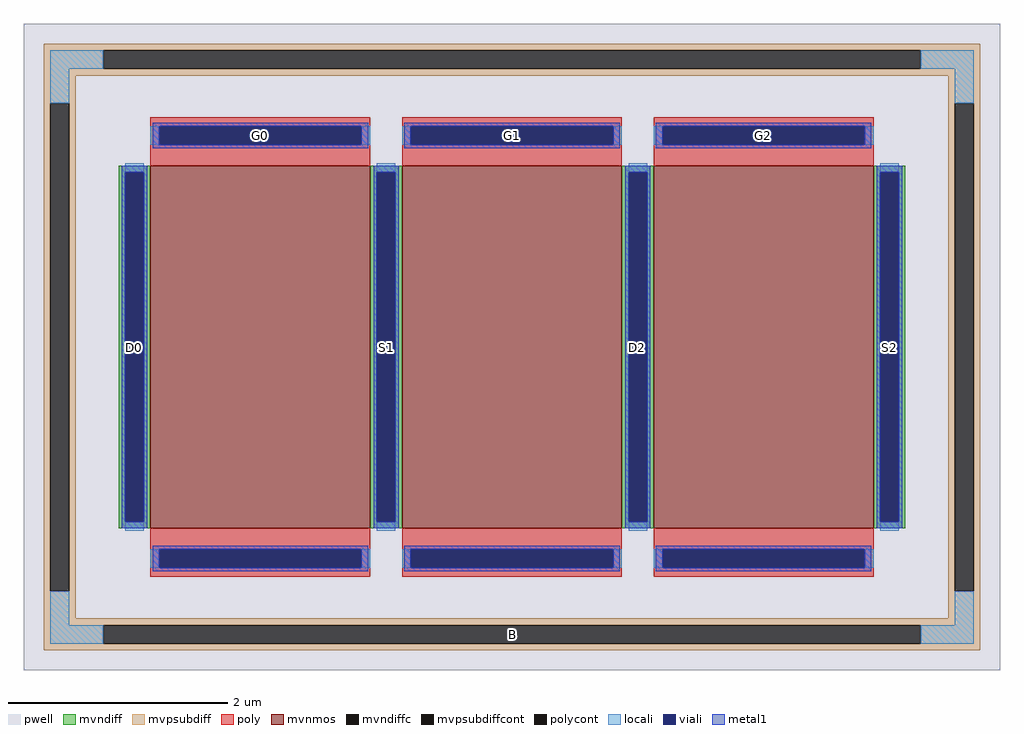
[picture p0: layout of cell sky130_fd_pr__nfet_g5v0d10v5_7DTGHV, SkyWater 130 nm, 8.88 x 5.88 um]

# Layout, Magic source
magic
tech sky130A
magscale 1 2
<< pwell >>
rect -888 -588 888 588
<< mvnmos >>
rect -658 -330 -258 330
rect -200 -330 200 330
rect 258 -330 658 330
<< mvndiff >>
rect -716 318 -658 330
rect -716 -318 -704 318
rect -670 -318 -658 318
rect -716 -330 -658 -318
rect -258 318 -200 330
rect -258 -318 -246 318
rect -212 -318 -200 318
rect -258 -330 -200 -318
rect 200 318 258 330
rect 200 -318 212 318
rect 246 -318 258 318
rect 200 -330 258 -318
rect 658 318 716 330
rect 658 -318 670 318
rect 704 -318 716 318
rect 658 -330 716 -318
<< mvndiffc >>
rect -704 -318 -670 318
rect -246 -318 -212 318
rect 212 -318 246 318
rect 670 -318 704 318
<< mvpsubdiff >>
rect -852 540 852 552
rect -852 506 -744 540
rect 744 506 852 540
rect -852 494 852 506
rect -852 444 -794 494
rect -852 -444 -840 444
rect -806 -444 -794 444
rect 794 444 852 494
rect -852 -494 -794 -444
rect 794 -444 806 444
rect 840 -444 852 444
rect 794 -494 852 -444
rect -852 -506 852 -494
rect -852 -540 -744 -506
rect 744 -540 852 -506
rect -852 -552 852 -540
<< mvpsubdiffcont >>
rect -744 506 744 540
rect -840 -444 -806 444
rect 806 -444 840 444
rect -744 -540 744 -506
<< poly >>
rect -658 402 -258 418
rect -658 368 -642 402
rect -274 368 -258 402
rect -658 330 -258 368
rect -200 402 200 418
rect -200 368 -184 402
rect 184 368 200 402
rect -200 330 200 368
rect 258 402 658 418
rect 258 368 274 402
rect 642 368 658 402
rect 258 330 658 368
rect -658 -368 -258 -330
rect -658 -402 -642 -368
rect -274 -402 -258 -368
rect -658 -418 -258 -402
rect -200 -368 200 -330
rect -200 -402 -184 -368
rect 184 -402 200 -368
rect -200 -418 200 -402
rect 258 -368 658 -330
rect 258 -402 274 -368
rect 642 -402 658 -368
rect 258 -418 658 -402
<< polycont >>
rect -642 368 -274 402
rect -184 368 184 402
rect 274 368 642 402
rect -642 -402 -274 -368
rect -184 -402 184 -368
rect 274 -402 642 -368
<< locali >>
rect -840 506 -744 540
rect 744 506 840 540
rect -840 444 -806 506
rect 806 444 840 506
rect -658 368 -642 402
rect -274 368 -258 402
rect -200 368 -184 402
rect 184 368 200 402
rect 258 368 274 402
rect 642 368 658 402
rect -704 318 -670 334
rect -704 -334 -670 -318
rect -246 318 -212 334
rect -246 -334 -212 -318
rect 212 318 246 334
rect 212 -334 246 -318
rect 670 318 704 334
rect 670 -334 704 -318
rect -658 -402 -642 -368
rect -274 -402 -258 -368
rect -200 -402 -184 -368
rect 184 -402 200 -368
rect 258 -402 274 -368
rect 642 -402 658 -368
rect -840 -506 -806 -444
rect 806 -506 840 -444
rect -840 -540 -744 -506
rect 744 -540 840 -506
<< viali >>
rect -642 368 -274 402
rect -184 368 184 402
rect 274 368 642 402
rect -704 -318 -670 318
rect -246 -318 -212 318
rect 212 -318 246 318
rect 670 -318 704 318
rect -642 -402 -274 -368
rect -184 -402 184 -368
rect 274 -402 642 -368
<< metal1 >>
rect -654 402 -262 408
rect -654 368 -642 402
rect -274 368 -262 402
rect -654 362 -262 368
rect -196 402 196 408
rect -196 368 -184 402
rect 184 368 196 402
rect -196 362 196 368
rect 262 402 654 408
rect 262 368 274 402
rect 642 368 654 402
rect 262 362 654 368
rect -710 318 -664 330
rect -710 -318 -704 318
rect -670 -318 -664 318
rect -710 -330 -664 -318
rect -252 318 -206 330
rect -252 -318 -246 318
rect -212 -318 -206 318
rect -252 -330 -206 -318
rect 206 318 252 330
rect 206 -318 212 318
rect 246 -318 252 318
rect 206 -330 252 -318
rect 664 318 710 330
rect 664 -318 670 318
rect 704 -318 710 318
rect 664 -330 710 -318
rect -654 -368 -262 -362
rect -654 -402 -642 -368
rect -274 -402 -262 -368
rect -654 -408 -262 -402
rect -196 -368 196 -362
rect -196 -402 -184 -368
rect 184 -402 196 -368
rect -196 -408 196 -402
rect 262 -368 654 -362
rect 262 -402 274 -368
rect 642 -402 654 -368
rect 262 -408 654 -402
<< labels >>
rlabel mvpsubdiffcont 0 -523 0 -523 0 B
port 1 nsew
rlabel mvndiffc -687 0 -687 0 0 D0
port 2 nsew
rlabel polycont -458 385 -458 385 0 G0
port 3 nsew
rlabel mvndiffc -229 0 -229 0 0 S1
port 4 nsew
rlabel polycont 0 385 0 385 0 G1
port 5 nsew
rlabel mvndiffc 229 0 229 0 0 D2
port 6 nsew
rlabel mvndiffc 687 0 687 0 0 S2
port 7 nsew
rlabel polycont 458 385 458 385 0 G2
port 8 nsew
<< properties >>
string FIXED_BBOX -823 -523 823 523
string gencell sky130_fd_pr__nfet_g5v0d10v5
string library sky130
string parameters w 3.3 l 2 m 1 nf 3 diffcov 100 polycov 100 guard 1 glc 1 grc 1 gtc 1 gbc 1 tbcov 100 rlcov 100 topc 1 botc 1 poverlap 0 doverlap 1 lmin 0.50 wmin 0.42 class mosfet compatible {sky130_fd_pr__nfet_01v8 sky130_fd_pr__nfet_01v8_lvt  sky130_fd_bs_flash__special_sonosfet_star  sky130_fd_pr__nfet_g5v0d10v5 sky130_fd_pr__nfet_05v0_nvt  sky130_fd_pr__nfet_03v3_nvt} full_metal 1 conn_gates 0 viasrc 100 viadrn 100 viagate 100 viagb 0 viagr 0 viagl 0 viagt 0 doports 1
<< end >>
